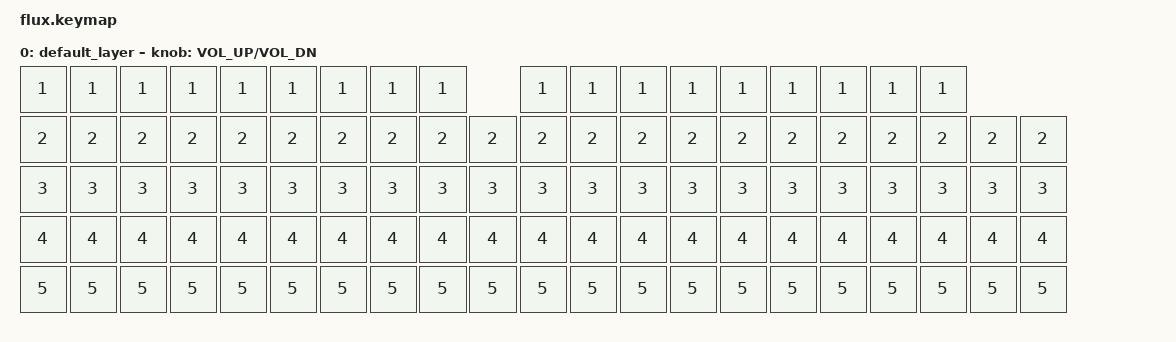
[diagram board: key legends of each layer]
#include <behaviors.dtsi>
#include <dt-bindings/zmk/keys.h>

 #define DEFAULT 0

/ {
    keymap 
    {
        compatible = "zmk,keymap";

        default_layer 
        {
          //  RC(0,0) RC(0,1) RC(0,2) RC(0,3) RC(0,4) RC(0,5) RC(0,6) RC(0,7) RC(0,8)                  RC(4,11) RC(4,12) RC(4,13) RC(4,14) RC(4,15) RC(4,16) RC(4,17) RC(4,18) RC(4,19)
          //  RC(1,0) RC(1,1) RC(1,2) RC(1,3) RC(1,4) RC(1,5) RC(1,6) RC(1,7) RC(1,8) RC(1,9) RC(1,10) RC(1,11) RC(1,12) RC(1,13) RC(1,14) RC(1,15) RC(1,16) RC(1,17) RC(1,18) RC(1,19)
          //  RC(2,0) RC(2,1) RC(2,2) RC(2,3) RC(2,4) RC(2,5) RC(2,6) RC(2,7) RC(2,8) RC(2,9) RC(2,10) RC(2,11) RC(2,12) RC(2,13) RC(2,14) RC(2,15) RC(2,16) RC(2,17) RC(2,18) RC(2,19)
          //  RC(3,0) RC(3,1) RC(3,2) RC(3,3) RC(3,4) RC(3,5) RC(3,6) RC(3,7) RC(3,8) RC(3,9) RC(3,10) RC(3,11) RC(3,12) RC(3,13) RC(3,14) RC(3,15) RC(3,16) RC(3,17) RC(3,18) RC(3,19)
          //  RC(4,0) RC(4,1) RC(4,2) RC(4,3) RC(4,4) RC(4,5) RC(4,6) RC(4,7) RC(4,8) RC(4,9) RC(4,10) RC(4,11) RC(4,12) RC(4,13) RC(4,14) RC(4,15) RC(4,16) RC(4,17) RC(4,18) RC(4,19)

            bindings = 
            <
		&kp 1   &kp 1   &kp 1   &kp 1   &kp 1   &kp 1   &kp 1   &kp 1   &kp 1                   &kp 1   &kp 1   &kp 1   &kp 1   &kp 1   &kp 1   &kp 1   &kp 1   &kp 1
            &kp 2   &kp 2   &kp 2   &kp 2   &kp 2   &kp 2   &kp 2   &kp 2   &kp 2   &kp 2   &kp 2   &kp 2   &kp 2   &kp 2   &kp 2   &kp 2   &kp 2   &kp 2   &kp 2   &kp 2   &kp 2
            &kp 3   &kp 3   &kp 3   &kp 3   &kp 3   &kp 3   &kp 3   &kp 3   &kp 3   &kp 3   &kp 3   &kp 3   &kp 3   &kp 3   &kp 3   &kp 3   &kp 3   &kp 3   &kp 3   &kp 3   &kp 3
            &kp 4   &kp 4   &kp 4   &kp 4   &kp 4   &kp 4   &kp 4   &kp 4   &kp 4   &kp 4   &kp 4   &kp 4   &kp 4   &kp 4   &kp 4   &kp 4   &kp 4   &kp 4   &kp 4   &kp 4   &kp 4
            &kp 5   &kp 5   &kp 5   &kp 5   &kp 5   &kp 5   &kp 5   &kp 5   &kp 5   &kp 5   &kp 5   &kp 5   &kp 5   &kp 5   &kp 5   &kp 5   &kp 5   &kp 5   &kp 5   &kp 5   &kp 5
            >;

            sensor-bindings = <&inc_dec_kp C_VOL_UP C_VOL_DN>;
        }
    }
